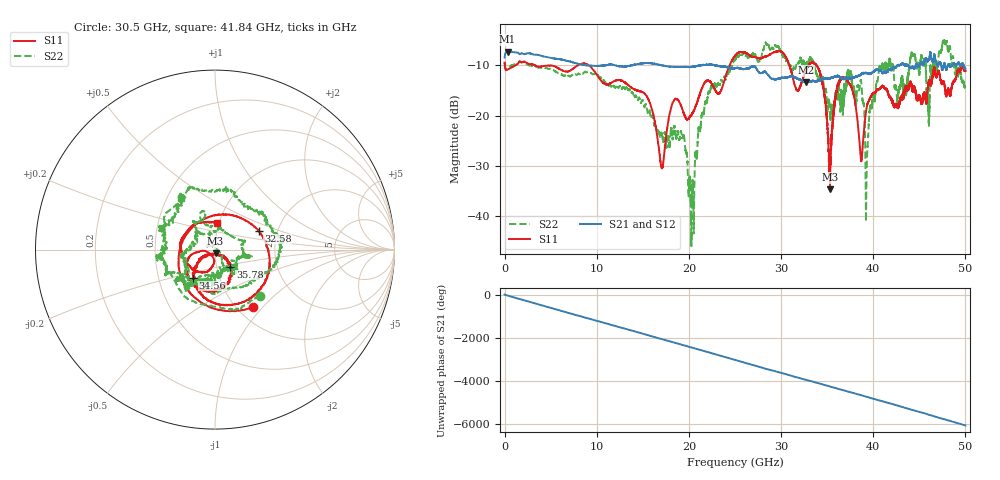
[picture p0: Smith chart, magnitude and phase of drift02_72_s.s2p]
!Created with skrf (http://scikit-rf.org).
# Hz S RI R 50.0
!freq ReS11 ImS11 ReS21 ImS21 ReS12 ImS12 ReS22 ImS22
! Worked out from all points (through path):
!   10001 points, 300 kHz to 50 GHz, reference 50 ohm
!   highest |S21| = -7.32 dB at 325.3 MHz (marker M1); lowest = -13.4 dB at 32.72 GHz (marker M2)
!   group delay of S21, straight-line fit = 335 ps
!   lowest |S11| = -34.6 dB at 35.31 GHz (marker M3), VSWR 1.04, Z = 50.3 - j1.84 ohm
!   |S11| at or under -10 dB: 3.231 GHz to 8.002 GHz (4.771 GHz wide, 84.9 % of centre); 9.108 GHz to 24.41 GHz (15.31 GHz wide, 91.3 % of centre); 33.83 GHz to end of sweep (the widest 3 of 7)
!   |S22| runs from -45.9 to -5.1 dB; largest |S21 - S12| = 0.014
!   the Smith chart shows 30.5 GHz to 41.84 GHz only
!   S11 on the Smith chart (normalised r, x): 30.5 GHz: 1.19, -0.89; 32.58 GHz: 1.59, +0.36; 34.56 GHz: 0.75, -0.24; 35.78 GHz: 1.16, -0.22; 41.84 GHz: 0.98, +0.30
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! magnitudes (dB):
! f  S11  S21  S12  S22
! 300 kHz  -9.5  -8.5  -8.5  -9.4
! 325.3 MHz  -10.9  -7.3  -7.3  -10.6
! 8.335 GHz  -9.7  -9.9  -9.9  -11.6
! 16.67 GHz  -25.5  -9.9  -9.9  -22.8
! 19.31 GHz  -18.8  -10.4  -10.4  -24.4
! 20.37 GHz  -19.6  -10.3  -10.3  -34.5
! 21.94 GHz  -13.1  -9.9  -10.0  -17.3
! 25 GHz  -8.2  -10.6  -10.6  -9.0
! 30.5 GHz  -8.3  -12.5  -12.4  -8.9
! 32.58 GHz  -11.5  -13.2  -13.3  -10.3
! 32.72 GHz  -11.0  -13.4  -13.5  -10.0
! 33.34 GHz  -9.5  -13.1  -13.2  -9.0
! 34.56 GHz  -14.1  -12.8  -12.7  -12.9
! 35.31 GHz  -34.6  -12.5  -12.5  -19.6
! 35.78 GHz  -17.9  -12.3  -12.4  -17.7
! 37.25 GHz  -13.2  -12.5  -12.6  -11.5
! 38.54 GHz  -25.9  -12.0  -12.0  -14.1
! 39.32 GHz  -18.1  -11.6  -11.6  -28.8
! 41.67 GHz  -15.9  -10.9  -11.1  -9.7
! 41.84 GHz  -16.5  -10.9  -10.9  -9.3
! 47.77 GHz  -14.4  -9.8  -9.7  -5.5
! 50 GHz  -11.2  -10.7  -10.7  -13.9
